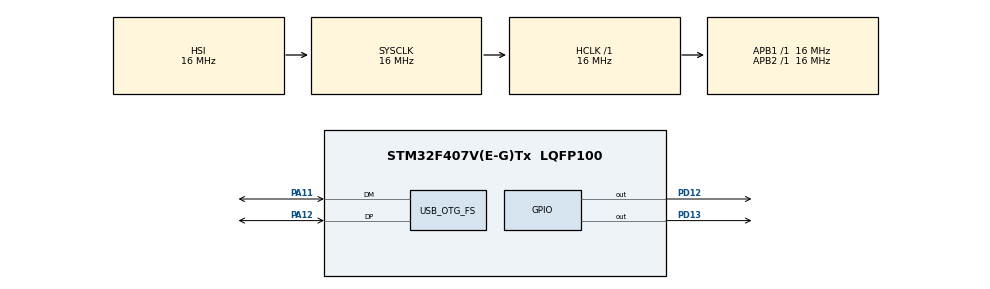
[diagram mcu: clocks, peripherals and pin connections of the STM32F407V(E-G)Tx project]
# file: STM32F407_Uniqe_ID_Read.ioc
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Mcu.Family=STM32F4
Mcu.Name=STM32F407V(E-G)Tx
Mcu.Package=LQFP100
NVIC.OTG_FS_IRQn=true\:0\:0\:false\:false\:true\:false\:true\:true
NVIC.PriorityGroup=NVIC_PRIORITYGROUP_4
PA11.Mode=Device_Only
PA11.Signal=USB_OTG_FS_DM
PA12.Mode=Device_Only
PA12.Signal=USB_OTG_FS_DP
PD12.Signal=GPIO_Output
PD13.Signal=GPIO_Output
PH0-OSC_IN.Mode=HSE-External-Oscillator
PH0-OSC_IN.Signal=RCC_OSC_IN
PH1-OSC_OUT.Mode=HSE-External-Oscillator
PH1-OSC_OUT.Signal=RCC_OSC_OUT
ProjectManager.HeapSize=0x200
ProjectManager.StackSize=0x400
ProjectManager.TargetToolchain=EWARM V8.50
RCC.48MHZClocksFreq_Value=48000000
RCC.AHBFreq_Value=16000000
RCC.APB1Freq_Value=16000000
RCC.APB2Freq_Value=16000000
RCC.CortexFreq_Value=16000000
RCC.HSE_VALUE=25000000
RCC.HSI_VALUE=16000000
RCC.LSE_VALUE=32768
RCC.PLLM=15
RCC.PLLN=144
RCC.PLLQ=5
RCC.SYSCLKFreq_VALUE=16000000
RCC.VCOOutputFreq_Value=240000000
USB_DEVICE.CLASS_NAME_FS=HID
USB_DEVICE.VirtualMode-HID_FS=Hid
USB_DEVICE.VirtualModeFS=Hid_FS
USB_OTG_FS.VirtualMode=Device_Only
VP_USB_DEVICE_VS_USB_DEVICE_HID_FS.Mode=HID_FS
board=custom

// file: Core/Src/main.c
/* USER CODE BEGIN Header */
/**
  ******************************************************************************
  * @file           : main.c
  * @brief          : Main program body
  ******************************************************************************
  * @attention
  *
  * Copyright (c) 2022 STMicroelectronics.
  * All rights reserved.
  *
  * This software is licensed under terms that can be found in the LICENSE file
  * in the root directory of this software component.
  * If no LICENSE file comes with this software, it is provided AS-IS.
  *
  ******************************************************************************
  */
/* USER CODE END Header */
#include "main.h"
#include "usb_device.h"

/* USER CODE BEGIN PD */
#ifdef __STM32F4xx_H
#define ID_ADDR 0x1FFF7A10/*STM32F4 unique base address*/
#endif
/* USER CODE END PD */

extern USBD_HandleTypeDef hUsbDeviceFS;
/* USER CODE BEGIN PV */
char uniqe_ID[40];
uint8_t temp[12];
uint32_t temp0,temp1,temp2;
/* USER CODE END PV */

void SystemClock_Config(void);
static void MX_GPIO_Init(void);
void USBD_HID_SendReport(USBD_HandleTypeDef *pdev, uint8_t *report, uint16_t len);

/* USER CODE BEGIN 0 */
void GET_ID(void)
 {
    uint8_t temp[12];
    uint32_t temp0,temp1,temp2;
    temp0=*(__IO uint32_t*)(ID_ADDR);
    temp1=*(__IO uint32_t*)(ID_ADDR+0x04);
    temp2=*(__IO uint32_t*)(ID_ADDR+0x08);
    temp[0] = (uint8_t)(temp0 & 0x000000FF);
    temp[1] = (uint8_t)((temp0 & 0x0000FF00)>>8);
    temp[2] = (uint8_t)((temp0 & 0x00FF0000)>>16);
    temp[3] = (uint8_t)((temp0 & 0xFF000000)>>24);
    temp[4] = (uint8_t)(temp1 & 0x000000FF);
    temp[5] = (uint8_t)((temp1 & 0x0000FF00)>>8);
    temp[6] = (uint8_t)((temp1 & 0x00FF0000)>>16);
    temp[7] = (uint8_t)((temp1 & 0xFF000000)>>24);
    temp[8] = (uint8_t)(temp2 & 0x000000FF);
    temp[9] = (uint8_t)((temp2 & 0x0000FF00)>>8);
    temp[10] = (uint8_t)((temp2 & 0x00FF0000)>>16);
    temp[11] = (uint8_t)((temp2 & 0xFF000000)>>24);

    sprintf(uniqe_ID,"%.2X%.2X%.2X%.2X%.2X%.2X%.2X%.2X%.2X%.2X%.2X%.2X",
        temp[0],temp[1],temp[2],temp[3],temp[4],temp[5],temp[6],temp[7],
        temp[8],temp[9],temp[10],temp [11]);
 }
/* USER CODE END 0 */

int main(void)
{

  /* MCU Configuration--------------------------------------------------------*/

  /* Reset of all peripherals, Initializes the Flash interface and the Systick. */
  HAL_Init();

  /* Configure the system clock */
  SystemClock_Config();

  /* Initialize all configured peripherals */
  MX_GPIO_Init();
  MX_USB_DEVICE_Init();
  /* USER CODE BEGIN 2 */
 GET_ID();
  /* USER CODE END 2 */

  /* Infinite loop */
  while (1)
  {

    /* USER CODE BEGIN 3 */
     USBD_HID_SendReport(&hUsbDeviceFS,(uint8_t*)uniqe_ID,40);
  }
  /* USER CODE END 3 */
}

void SystemClock_Config(void)
{
  RCC_OscInitTypeDef RCC_OscInitStruct = {0};
  RCC_ClkInitTypeDef RCC_ClkInitStruct = {0};

  /** Configure the main internal regulator output voltage
  */
  __HAL_RCC_PWR_CLK_ENABLE();
  __HAL_PWR_VOLTAGESCALING_CONFIG(PWR_REGULATOR_VOLTAGE_SCALE1);

  /** Initializes the RCC Oscillators according to the specified parameters
  * in the RCC_OscInitTypeDef structure.
  */
  RCC_OscInitStruct.OscillatorType = RCC_OSCILLATORTYPE_HSI|RCC_OSCILLATORTYPE_HSE;
  RCC_OscInitStruct.HSEState = RCC_HSE_ON;
  RCC_OscInitStruct.HSIState = RCC_HSI_ON;
  RCC_OscInitStruct.HSICalibrationValue = RCC_HSICALIBRATION_DEFAULT;
  RCC_OscInitStruct.PLL.PLLState = RCC_PLL_ON;
  RCC_OscInitStruct.PLL.PLLSource = RCC_PLLSOURCE_HSE;
  RCC_OscInitStruct.PLL.PLLM = 15;
  RCC_OscInitStruct.PLL.PLLN = 144;
  RCC_OscInitStruct.PLL.PLLP = RCC_PLLP_DIV2;
  RCC_OscInitStruct.PLL.PLLQ = 5;
  if (HAL_RCC_OscConfig(&RCC_OscInitStruct) != HAL_OK)
  {
    Error_Handler();
  }

  /** Initializes the CPU, AHB and APB buses clocks
  */
  RCC_ClkInitStruct.ClockType = RCC_CLOCKTYPE_HCLK|RCC_CLOCKTYPE_SYSCLK
                              |RCC_CLOCKTYPE_PCLK1|RCC_CLOCKTYPE_PCLK2;
  RCC_ClkInitStruct.SYSCLKSource = RCC_SYSCLKSOURCE_HSI;
  RCC_ClkInitStruct.AHBCLKDivider = RCC_SYSCLK_DIV1;
  RCC_ClkInitStruct.APB1CLKDivider = RCC_HCLK_DIV1;
  RCC_ClkInitStruct.APB2CLKDivider = RCC_HCLK_DIV1;

  if (HAL_RCC_ClockConfig(&RCC_ClkInitStruct, FLASH_LATENCY_0) != HAL_OK)
  {
    Error_Handler();
  }
}

static void MX_GPIO_Init(void)
{
  GPIO_InitTypeDef GPIO_InitStruct = {0};

  /* GPIO Ports Clock Enable */
  __HAL_RCC_GPIOH_CLK_ENABLE();
  __HAL_RCC_GPIOD_CLK_ENABLE();
  __HAL_RCC_GPIOA_CLK_ENABLE();

  /*Configure GPIO pin Output Level */
  HAL_GPIO_WritePin(GPIOD, GPIO_PIN_12|GPIO_PIN_13, GPIO_PIN_RESET);

  /*Configure GPIO pins : PD12 PD13 */
  GPIO_InitStruct.Pin = GPIO_PIN_12|GPIO_PIN_13;
  GPIO_InitStruct.Mode = GPIO_MODE_OUTPUT_PP;
  GPIO_InitStruct.Pull = GPIO_NOPULL;
  GPIO_InitStruct.Speed = GPIO_SPEED_FREQ_LOW;
  HAL_GPIO_Init(GPIOD, &GPIO_InitStruct);

}

void Error_Handler(void)
{
  __disable_irq();
  while (1)
  {
  }
}
